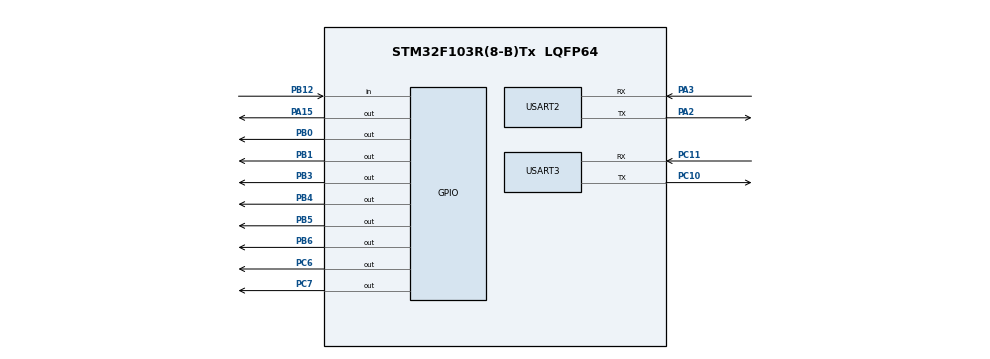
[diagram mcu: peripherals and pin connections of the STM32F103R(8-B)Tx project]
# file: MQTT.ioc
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Mcu.Family=STM32F1
Mcu.Name=STM32F103R(8-B)Tx
Mcu.Package=LQFP64
NVIC.PriorityGroup=NVIC_PRIORITYGROUP_4
PA13.Mode=Serial_Wire
PA13.Signal=SYS_JTMS-SWDIO
PA14.Mode=Serial_Wire
PA14.Signal=SYS_JTCK-SWCLK
PA15.Signal=GPIO_Output
PA2.Mode=Asynchronous
PA2.Signal=USART2_TX
PA3.Mode=Asynchronous
PA3.Signal=USART2_RX
PB0.Signal=GPIO_Output
PB1.Signal=GPIO_Output
PB12.Signal=GPIO_Input
PB3.Signal=GPIO_Output
PB4.Signal=GPIO_Output
PB5.Signal=GPIO_Output
PB6.Signal=GPIO_Output
PC10.Mode=Asynchronous
PC10.Signal=USART3_TX
PC11.Mode=Asynchronous
PC11.Signal=USART3_RX
PC6.Signal=GPIO_Output
PC7.Signal=GPIO_Output
PD0-OSC_IN.Mode=HSE-External-Oscillator
PD0-OSC_IN.Signal=RCC_OSC_IN
PD1-OSC_OUT.Mode=HSE-External-Oscillator
PD1-OSC_OUT.Signal=RCC_OSC_OUT
ProjectManager.HeapSize=0x200
ProjectManager.StackSize=0x400
ProjectManager.TargetToolchain=MDK-ARM V5
RCC.APB1Freq_Value=8000000
RCC.APB2Freq_Value=8000000
USART2.VirtualMode=VM_ASYNC
USART3.VirtualMode=VM_ASYNC
board=custom

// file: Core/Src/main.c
/* USER CODE BEGIN Header */
/**
  ******************************************************************************
  * @file           : main.c
  * @brief          : Main program body
  ******************************************************************************
  * @attention
  *
  * Copyright (c) 2023 STMicroelectronics.
  * All rights reserved.
  *
  * This software is licensed under terms that can be found in the LICENSE file
  * in the root directory of this software component.
  * If no LICENSE file comes with this software, it is provided AS-IS.
  *
  ******************************************************************************
  */
/* USER CODE END Header */
#include "main.h"
#include "string.h"
#include "FLASH_PAGE_F1.h"

UART_HandleTypeDef huart2;
UART_HandleTypeDef huart3;
uint8_t rsp3[200];
uint8_t rsp2[200];
uint8_t rsp22[200];
uint8_t cmd[] = "AT+QMTPUBEX=0,0,0,0,\"nhanhung/gateway2/sensor1\",57\r\n";
uint8_t cmdd[] = "AT+QMTPUBEX=0,0,0,0,\"nhanhung/gateway2/sensor2\",57\r\n";
uint8_t cmddd[] = "AT+QMTPUBEX=0,0,0,0,\"nhanhung/gateway2/sensor3\",57\r\n";
uint8_t state;
int count = 0;
char string[250];
uint32_t Rx_Data[250];
uint8_t chua[250];

void SystemClock_Config(void);
static void MX_GPIO_Init(void);
static void MX_USART3_UART_Init(void);
static void MX_USART2_UART_Init(void);
void dan(int count);

int main(void)
{

  /* MCU Configuration--------------------------------------------------------*/

  /* Reset of all peripherals, Initializes the Flash interface and the Systick. */
  HAL_Init();

  /* Configure the system clock */
  SystemClock_Config();

  /* Initialize all configured peripherals */
  MX_GPIO_Init();
  MX_USART3_UART_Init();
  MX_USART2_UART_Init();
  /* USER CODE BEGIN 2 */
	HAL_GPIO_WritePin(GPIOA, GPIO_PIN_15, GPIO_PIN_SET);
	HAL_Delay(400);
	HAL_GPIO_WritePin(GPIOB, GPIO_PIN_5, GPIO_PIN_SET);
	HAL_Delay(5000);																																//Set up

	uint8_t cmd5[] = "AT+QMTCFG=\"recv/mode\",0,0,1\r\n";
	for (int i=0;i<=1;i++) {
	HAL_UART_Transmit(&huart3,cmd5, sizeof(cmd5), 1000);
	HAL_UART_Receive(&huart3,rsp3, sizeof(rsp3), 1000);
	HAL_Delay(500);
	}

	uint8_t cmd6[] = "AT+QMTOPEN=?\r\n";
	for (int i=0;i<=4;i++) {
	HAL_UART_Transmit(&huart3,cmd6, sizeof(cmd6), 1000);
	HAL_UART_Receive(&huart3,rsp3, sizeof(rsp3), 1000);
	HAL_Delay(500);
	}

	uint8_t cmd7[] = "AT+QMTOPEN=0,\"210.86.239.240\",8080\r\n";
	for (int i=0;i<=0;i++) {
	HAL_UART_Transmit(&huart3,cmd7, sizeof(cmd7), 1000);
	HAL_UART_Receive(&huart3,rsp3, sizeof(rsp3), 1000);
	HAL_Delay(500);
	}

	uint8_t cmd8[] = "AT+QMTOPEN?\r\n";
	for (int i=0;i<=0;i++) {
	HAL_UART_Transmit(&huart3,cmd8, sizeof(cmd8), 1000);
	HAL_UART_Receive(&huart3,rsp3, sizeof(rsp3), 1000);
	HAL_Delay(500);
	}

	uint8_t cmd9[] = "AT+QMTCONN=?\r\n";
	for (int i=0;i<=4;i++) {
	HAL_UART_Transmit(&huart3,cmd9, sizeof(cmd9), 1000);
	HAL_UART_Receive(&huart3,rsp3, sizeof(rsp3), 1000);
	HAL_Delay(500);
	}

	uint8_t cmd10[] = "AT+QMTCONN=0,\"nhanhung123\",\"\",\"\"\r\n";
	for (int i=0;i<=4;i++) {
	HAL_UART_Transmit(&huart3,cmd10, sizeof(cmd10), 1000);
	HAL_UART_Receive(&huart3,rsp3, sizeof(rsp3), 1000);
	HAL_Delay(500);
	}

  /* USER CODE END 2 */

  /* Infinite loop */
  while (1)
  {

    /* USER CODE BEGIN 3 */
		HAL_UART_Receive(&huart2,rsp2, 59, 1000);
//		HAL_Delay(1000);
		if (memcmp(rsp2,"{\"id\": \"device1b",16) == 0) {
			HAL_UART_Transmit(&huart3, cmd, sizeof(cmd), 1000);
			HAL_Delay(500);
			HAL_UART_Transmit(&huart3, rsp2, 57, 1000);
			HAL_Delay(500);
			HAL_UART_Transmit(&huart3,(uint8_t*)"\x1A", 1, 1000);
			HAL_Delay(500);
			HAL_UART_Transmit(&huart3,(uint8_t*)"\x1A", 1, 1000);
			dan(count);
			count += 57;
		}

		if (memcmp(rsp2,"{\"id\": \"device2b",16) == 0) {
			HAL_UART_Transmit(&huart3, cmdd, sizeof(cmdd), 1000);
			HAL_Delay(500);
			HAL_UART_Transmit(&huart3, rsp2, 57, 1000);
			HAL_Delay(500);
			HAL_UART_Transmit(&huart3,(uint8_t*)"\x1A", 1, 1000);
			HAL_Delay(500);
			HAL_UART_Transmit(&huart3,(uint8_t*)"\x1A", 1, 1000);
			dan(count);
			count += 57;
		}

		if (memcmp(rsp2,"{\"id\": \"device3b",16) == 0) {
			HAL_UART_Transmit(&huart3, cmddd, sizeof(cmddd), 1000);
			HAL_Delay(500);
			HAL_UART_Transmit(&huart3, rsp2, 57, 1000);
			HAL_Delay(500);
			HAL_UART_Transmit(&huart3,(uint8_t*)"\x1A", 1, 1000);
			HAL_Delay(500);
			HAL_UART_Transmit(&huart3,(uint8_t*)"\x1A", 1, 1000);
			dan(count);
			count += 57;
		}

		if (count == 228) {
			int numofwords = (sizeof(chua)/4)+((sizeof(chua)%4)!=0);
			Flash_Write_Data(0x08004810, (uint32_t *)chua, numofwords);
			Flash_Read_Data(0x08004810, Rx_Data, numofwords);
			Convert_To_Str(Rx_Data, string);
			count = 0;
			}
		}
	}
  /* USER CODE END 3 */

void dan(int count) {
	for (int i = 0, j = count; i < 57; i++) {
		chua[j] = rsp2[i];
		j++;
		}
	memset(rsp2, 0, sizeof(rsp2));
	}

void SystemClock_Config(void)
{
  RCC_OscInitTypeDef RCC_OscInitStruct = {0};
  RCC_ClkInitTypeDef RCC_ClkInitStruct = {0};

  /** Initializes the RCC Oscillators according to the specified parameters
  * in the RCC_OscInitTypeDef structure.
  */
  RCC_OscInitStruct.OscillatorType = RCC_OSCILLATORTYPE_HSI;
  RCC_OscInitStruct.HSIState = RCC_HSI_ON;
  RCC_OscInitStruct.HSICalibrationValue = RCC_HSICALIBRATION_DEFAULT;
  RCC_OscInitStruct.PLL.PLLState = RCC_PLL_NONE;
  if (HAL_RCC_OscConfig(&RCC_OscInitStruct) != HAL_OK)
  {
    Error_Handler();
  }

  /** Initializes the CPU, AHB and APB buses clocks
  */
  RCC_ClkInitStruct.ClockType = RCC_CLOCKTYPE_HCLK|RCC_CLOCKTYPE_SYSCLK
                              |RCC_CLOCKTYPE_PCLK1|RCC_CLOCKTYPE_PCLK2;
  RCC_ClkInitStruct.SYSCLKSource = RCC_SYSCLKSOURCE_HSI;
  RCC_ClkInitStruct.AHBCLKDivider = RCC_SYSCLK_DIV1;
  RCC_ClkInitStruct.APB1CLKDivider = RCC_HCLK_DIV1;
  RCC_ClkInitStruct.APB2CLKDivider = RCC_HCLK_DIV1;

  if (HAL_RCC_ClockConfig(&RCC_ClkInitStruct, FLASH_LATENCY_0) != HAL_OK)
  {
    Error_Handler();
  }
}

static void MX_USART2_UART_Init(void)
{

  huart2.Instance = USART2;
  huart2.Init.BaudRate = 115200;
  huart2.Init.WordLength = UART_WORDLENGTH_8B;
  huart2.Init.StopBits = UART_STOPBITS_1;
  huart2.Init.Parity = UART_PARITY_NONE;
  huart2.Init.Mode = UART_MODE_TX_RX;
  huart2.Init.HwFlowCtl = UART_HWCONTROL_NONE;
  huart2.Init.OverSampling = UART_OVERSAMPLING_16;
  if (HAL_UART_Init(&huart2) != HAL_OK)
  {
    Error_Handler();
  }

}

static void MX_USART3_UART_Init(void)
{

  huart3.Instance = USART3;
  huart3.Init.BaudRate = 115200;
  huart3.Init.WordLength = UART_WORDLENGTH_8B;
  huart3.Init.StopBits = UART_STOPBITS_1;
  huart3.Init.Parity = UART_PARITY_NONE;
  huart3.Init.Mode = UART_MODE_TX_RX;
  huart3.Init.HwFlowCtl = UART_HWCONTROL_NONE;
  huart3.Init.OverSampling = UART_OVERSAMPLING_16;
  if (HAL_UART_Init(&huart3) != HAL_OK)
  {
    Error_Handler();
  }

}

static void MX_GPIO_Init(void)
{
  GPIO_InitTypeDef GPIO_InitStruct = {0};

  /* GPIO Ports Clock Enable */
  __HAL_RCC_GPIOD_CLK_ENABLE();
  __HAL_RCC_GPIOA_CLK_ENABLE();
  __HAL_RCC_GPIOB_CLK_ENABLE();
  __HAL_RCC_GPIOC_CLK_ENABLE();

  /*Configure GPIO pin Output Level */
  HAL_GPIO_WritePin(GPIOB, GPIO_PIN_0|GPIO_PIN_1|GPIO_PIN_3|GPIO_PIN_4
                          |GPIO_PIN_5|GPIO_PIN_6, GPIO_PIN_RESET);

  /*Configure GPIO pin Output Level */
  HAL_GPIO_WritePin(GPIOC, GPIO_PIN_6|GPIO_PIN_7, GPIO_PIN_RESET);

  /*Configure GPIO pin Output Level */
  HAL_GPIO_WritePin(GPIOA, GPIO_PIN_15, GPIO_PIN_RESET);

  /*Configure GPIO pins : PB0 PB1 PB3 PB4
                           PB5 PB6 */
  GPIO_InitStruct.Pin = GPIO_PIN_0|GPIO_PIN_1|GPIO_PIN_3|GPIO_PIN_4
                          |GPIO_PIN_5|GPIO_PIN_6;
  GPIO_InitStruct.Mode = GPIO_MODE_OUTPUT_PP;
  GPIO_InitStruct.Pull = GPIO_NOPULL;
  GPIO_InitStruct.Speed = GPIO_SPEED_FREQ_LOW;
  HAL_GPIO_Init(GPIOB, &GPIO_InitStruct);

  /*Configure GPIO pin : PB12 */
  GPIO_InitStruct.Pin = GPIO_PIN_12;
  GPIO_InitStruct.Mode = GPIO_MODE_INPUT;
  GPIO_InitStruct.Pull = GPIO_PULLUP;
  HAL_GPIO_Init(GPIOB, &GPIO_InitStruct);

  /*Configure GPIO pins : PC6 PC7 */
  GPIO_InitStruct.Pin = GPIO_PIN_6|GPIO_PIN_7;
  GPIO_InitStruct.Mode = GPIO_MODE_OUTPUT_PP;
  GPIO_InitStruct.Pull = GPIO_NOPULL;
  GPIO_InitStruct.Speed = GPIO_SPEED_FREQ_LOW;
  HAL_GPIO_Init(GPIOC, &GPIO_InitStruct);

  /*Configure GPIO pin : PA15 */
  GPIO_InitStruct.Pin = GPIO_PIN_15;
  GPIO_InitStruct.Mode = GPIO_MODE_OUTPUT_PP;
  GPIO_InitStruct.Pull = GPIO_NOPULL;
  GPIO_InitStruct.Speed = GPIO_SPEED_FREQ_LOW;
  HAL_GPIO_Init(GPIOA, &GPIO_InitStruct);

}

void Error_Handler(void)
{
  __disable_irq();
  while (1)
  {
  }
}
